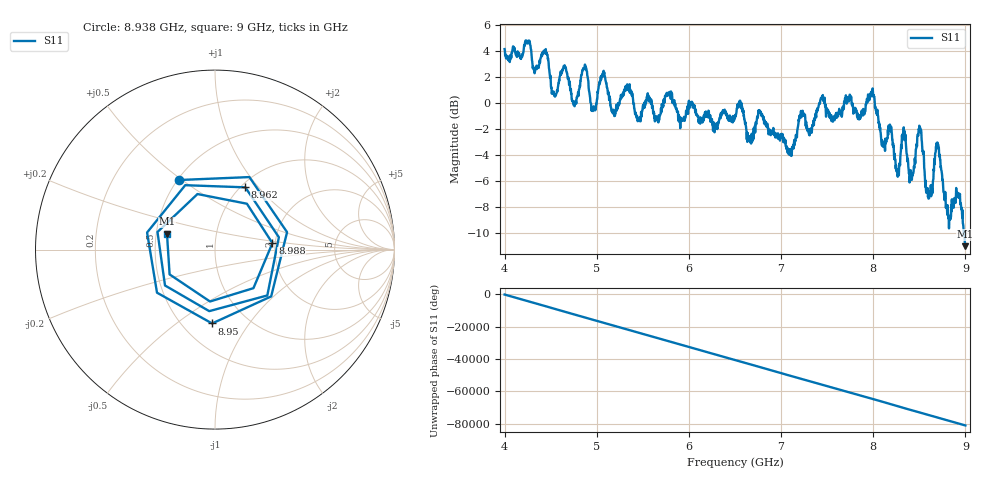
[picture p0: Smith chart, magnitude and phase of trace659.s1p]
! Created with skrf 1.8.0 (http://scikit-rf.org).
# Hz S RI R 50.0
!freq ReS11 ImS11
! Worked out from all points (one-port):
!   1601 points, 4 GHz to 9 GHz, reference 50 ohm
!   lowest |S11| = -11.0 dB at 9 GHz (marker M1), VSWR 1.78, Z = 28.5 + j5.45 ohm
!   |S11| at or under -10 dB: 8.982877 GHz to 8.985862 GHz (2.985 MHz wide, 0.0332 % of centre); 8.9889 GHz to end of sweep
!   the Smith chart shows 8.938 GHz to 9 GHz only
!   S11 on the Smith chart (normalised r, x): 8.938 GHz: 0.51, +0.49; 8.95 GHz: 0.69, -0.68; 8.962 GHz: 1.05, +0.86; 8.988 GHz: 1.93, +0.15; 9 GHz: 0.57, +0.11
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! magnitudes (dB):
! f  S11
! 4 GHz  4.1
! 4.441 GHz  4.0
! 4.538 GHz  0.6
! 4.625 GHz  2.5
! 4.753 GHz  -0.1
! 4.869 GHz  2.8
! 4.962 GHz  -0.5
! 5.066 GHz  2.0
! 5.25 GHz  0.1
! 5.875 GHz  -0.7
! 6.5 GHz  -1.2
! 7.125 GHz  -3.5
! 7.222 GHz  -0.7
! 7.75 GHz  0.5
! 7.991 GHz  0.9
! 8.109 GHz  -3.4
! 8.334 GHz  -2.6
! 8.375 GHz  -4.3
! 8.419 GHz  -5.9
! 8.503 GHz  -1.9
! 8.597 GHz  -6.9
! 8.697 GHz  -3.0
! 8.812 GHz  -8.6
! 8.938 GHz  -7.2
! 8.95 GHz  -7.7
! 8.962 GHz  -8.3
! 8.988 GHz  -9.8
! 9 GHz  -11.0
